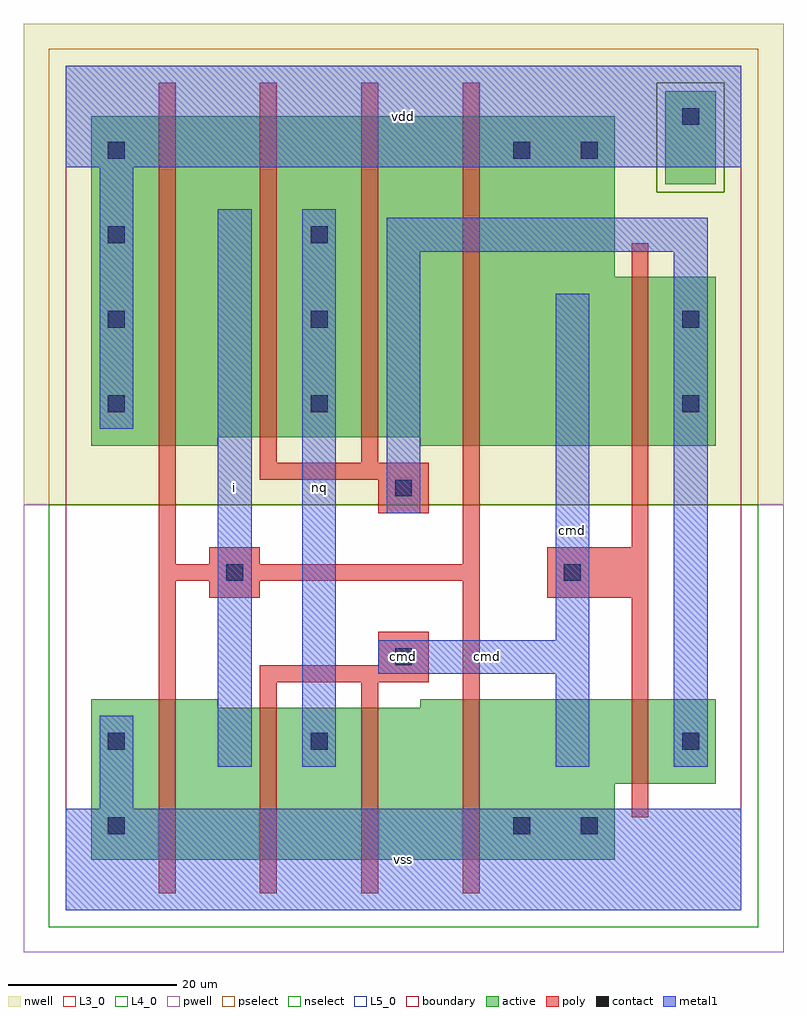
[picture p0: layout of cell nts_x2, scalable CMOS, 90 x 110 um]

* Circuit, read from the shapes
.subckt nts_x2 cmd i nq vdd vss
M1 n1 i vss VSUBS nfet w=19u l=2u
M2 nq cmd n1 VSUBS nfet w=18u l=2u
M3 n2 cmd nq VSUBS nfet w=18u l=2u
M4 vss i n2 VSUBS nfet w=19u l=2u
M5 n3 cmd vss VSUBS nfet w=10u l=2u
M6 n4 i vdd vdd pfet w=39u l=2u
M7 nq n3 n4 vdd pfet w=38u l=2u
M8 n5 n3 nq vdd pfet w=38u l=2u
M9 vdd i n5 vdd pfet w=39u l=2u
M10 n3 cmd vdd vdd pfet w=20u l=2u
.ends

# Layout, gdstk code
import gdstk
lib = gdstk.Library(unit=1e-6, precision=1e-09)
def R(c, l, rs):  # rectangles x0, y0, x1, y1
    for r in rs: c.add(gdstk.rectangle(r[:2], r[2:], *l))
def A(c, l, x, y, w, h, nx, ny, dx, dy):  # array of equal rectangles
    R(c, l, [(x+i*dx, y+j*dy, x+i*dx+w, y+j*dy+h) for i in range(nx) for j in range(ny)])
L3_0 = (3, 0)
L4_0 = (4, 0)
L5_0 = (5, 0)
contact = (25, 0)
pwell = (41, 0)
nwell = (42, 0)
active = (43, 0)
pselect = (44, 0)
nselect = (45, 0)
poly = (46, 0)
metal1 = (49, 0)
boundary = (63, 0)

nts_x2 = lib.new_cell('nts_x2')
R(nts_x2, L3_0, [(3,6,65,15), (3,15,77,24), (3,24,18,25), (42,24,77,25)])
R(nts_x2, L4_0, [(3,55,18,56), (42,55,77,56), (3,56,77,75), (3,75,65,94)])
R(nts_x2, L5_0, [(71,86,77,97)])
A(nts_x2, contact, 5, 59, 2, 2, 1, 4, 0, 10)
A(nts_x2, contact, 29, 59, 2, 2, 1, 3, 0, 10)
R(nts_x2, contact, [(5,9,7,11), (53,9,55,11), (61,9,63,11), (5,19,7,21), (29,19,31,21), (73,19,75,21), (39,29,41,31), (19,39,21,41), (59,39,61,41), (39,49,41,51), (73,59,75,61), (73,69,75,71), (53,89,55,91), (61,89,63,91), (73,93,75,95)])
R(nts_x2, pwell, [(-5,-5,85,48)])
R(nts_x2, nwell, [(-5,48,85,105)])
R(nts_x2, active, [(3,6,65,15), (3,15,77,24), (3,24,18,25), (42,24,77,25), (3,55,18,56), (42,55,77,56), (3,56,77,75), (3,75,65,94), (71,86,77,97)])
R(nts_x2, pselect, [(-2,48,82,85), (-2,85,70,98), (78,85,82,98), (-2,98,82,102)])
R(nts_x2, nselect, [(-2,-2,82,48), (70,85,78,98)])
R(nts_x2, poly, [(11,2,13,39), (23,2,25,27), (35,2,37,27), (47,2,49,39), (67,11,69,37), (23,27,43,29), (37,29,43,33), (17,37,23,39), (57,37,69,43), (11,39,49,41), (11,41,13,98), (17,41,23,43), (47,41,49,98), (67,43,69,79), (37,47,43,51), (23,51,43,53), (23,53,25,98), (35,53,37,98)])
R(nts_x2, metal1, [(0,0,80,12), (4,12,8,23), (18,17,22,83), (28,17,32,83), (58,17,62,28), (72,17,76,78), (37,28,62,32), (58,32,62,73), (38,47,42,78), (4,57,8,88), (38,78,76,82), (0,88,80,100)])
R(nts_x2, boundary, [(0,0,80,100)])
nts_x2.add(gdstk.Label('nq', (30,50), layer=49, texttype=0))
nts_x2.add(gdstk.Label('i', (20,50), layer=49, texttype=0))
nts_x2.add(gdstk.Label('vss', (40,6), layer=49, texttype=0))
nts_x2.add(gdstk.Label('cmd', (40,30), layer=49, texttype=0))
nts_x2.add(gdstk.Label('cmd', (50,30), layer=49, texttype=0))
nts_x2.add(gdstk.Label('vdd', (40,94), layer=49, texttype=0))
nts_x2.add(gdstk.Label('cmd', (60,45), layer=49, texttype=0))

lib.write_gds('nts_x2.gds')
